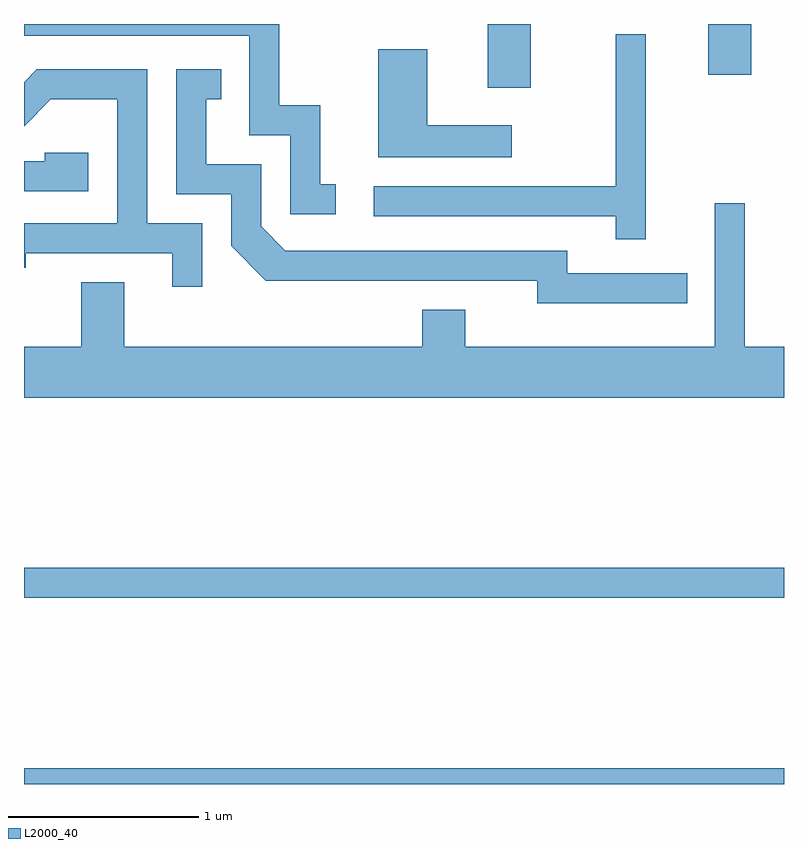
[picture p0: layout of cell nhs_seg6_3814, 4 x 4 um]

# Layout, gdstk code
import gdstk
lib = gdstk.Library(unit=1e-6, precision=1e-09)
def R(c, l, rs):  # rectangles x0, y0, x1, y1
    for r in rs: c.add(gdstk.rectangle(r[:2], r[2:], *l))
def P(c, l, *ps):  # polygons
    for p in ps: c.add(gdstk.Polygon(p, *l))
L2000_40 = (2000, 40)

nhs_seg6_3814 = lib.new_cell('nhs_seg6_3814')
R(nhs_seg6_3814, L2000_40, [(299.611,1610.162,303.611,1610.244), (299.611,1611.141,303.611,1611.299), (302.051,1613.826,302.279,1614.162), (303.211,1613.896,303.439,1614.162)])
P(nhs_seg6_3814, L2000_40, [(301.253,1613.319),(301.169,1613.319),(301.169,1613.734),(300.954,1613.734),(300.954,1614.162),(299.611,1614.162),(299.611,1614.101),(300.796,1614.101),(300.796,1613.576),(301.011,1613.576),(301.011,1613.161),(301.253,1613.161)],
  [(302.884,1614.108),(302.726,1614.108),(302.726,1613.309),(301.453,1613.309),(301.453,1613.151),(302.726,1613.151),(302.726,1613.028),(302.884,1613.028)],
  [(302.178,1613.629),(301.734,1613.629),(301.734,1614.029),(301.476,1614.029),(301.476,1613.461),(302.178,1613.461)],
  [(300.549,1613.114),(300.259,1613.114),(300.259,1613.924),(299.679,1613.924),(299.611,1613.856),(299.611,1613.625),(299.752,1613.766),(300.101,1613.766),(300.101,1613.114),(299.611,1613.114),(299.611,1612.878),(299.619,1612.878),(299.619,1612.956),(300.391,1612.956),(300.391,1612.778),(300.549,1612.778)],
  [(303.103,1612.849),(302.469,1612.849),(302.469,1612.969),(300.987,1612.969),(300.859,1613.097),(300.859,1613.424),(300.569,1613.424),(300.569,1613.766),(300.648,1613.766),(300.648,1613.924),(300.411,1613.924),(300.411,1613.266),(300.701,1613.266),(300.701,1612.994),(300.884,1612.811),(302.311,1612.811),(302.311,1612.691),(303.103,1612.691)],
  [(299.949,1613.484),(299.721,1613.484),(299.721,1613.439),(299.611,1613.439),(299.611,1613.281),(299.949,1613.281)],
  [(303.611,1612.464),(303.404,1612.464),(303.404,1613.218),(303.246,1613.218),(303.246,1612.464),(301.934,1612.464),(301.934,1612.659),(301.706,1612.659),(301.706,1612.464),(300.139,1612.464),(300.139,1612.804),(299.911,1612.804),(299.911,1612.464),(299.611,1612.464),(299.611,1612.196),(303.611,1612.196)])

lib.write_gds('nhs_seg6_3814.gds')
